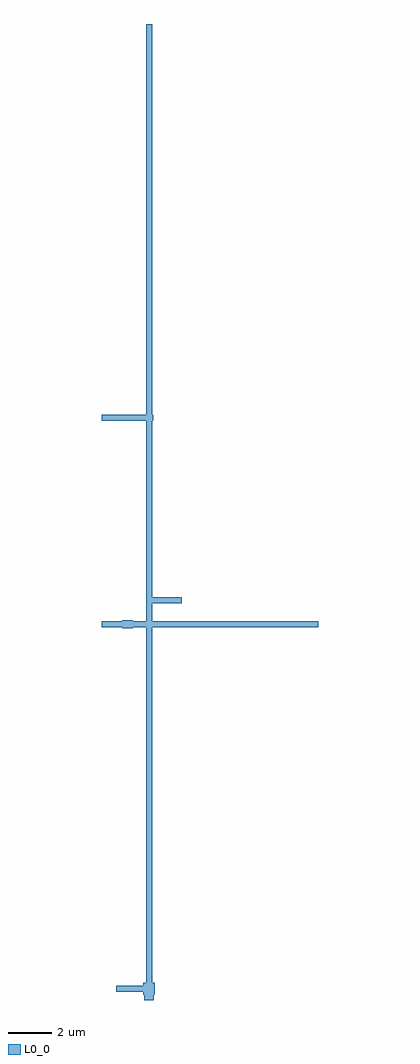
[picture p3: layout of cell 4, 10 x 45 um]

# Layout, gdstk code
import gdstk
lib = gdstk.Library(unit=1e-6, precision=1e-09)
def P(c, l, *ps):  # polygons
    for p in ps: c.add(gdstk.Polygon(p, *l))
L0_0 = (0, 0)

c_4 = lib.new_cell('4')
P(c_4, L0_0, [(1201.97,730),(1201.97,730.74),(1202.41,730.74),(1202.41,730),(1201.97,730)],
  [(1201.92,730.79),(1202.46,730.79),(1202.46,730.25),(1201.92,730.25),(1201.92,730.79)],
  [(1202,756.98),(1202.38,756.98),(1202.38,756.7),(1202,756.7),(1202,756.98)],
  [(1202.05,730),(1202.05,756.98),(1202.33,756.98),(1202.33,730),(1202.05,730)],
  [(1202,730.66),(1202.38,730.66),(1202.38,730.38),(1202,730.38),(1202,730.66)],
  [(1200.68,730.66),(1201.06,730.66),(1201.06,730.38),(1200.68,730.38),(1200.68,730.66)],
  [(1200.73,730.66),(1202.33,730.66),(1202.33,730.38),(1200.73,730.38),(1200.73,730.66)],
  [(1202,756.98),(1202.38,756.98),(1202.38,756.7),(1202,756.7),(1202,756.98)],
  [(1200,756.98),(1202.33,756.98),(1202.33,756.7),(1200,756.7),(1200,756.98)],
  [(1202,747.46),(1202.38,747.46),(1202.38,747.18),(1202,747.18),(1202,747.46)],
  [(1200,747.46),(1202.33,747.46),(1202.33,747.18),(1200,747.18),(1200,747.46)],
  [(1202,747.46),(1202.38,747.46),(1202.38,747.18),(1202,747.18),(1202,747.46)],
  [(1202.05,748.58),(1203.65,748.58),(1203.65,748.3),(1202.05,748.3),(1202.05,748.58)],
  [(1202.33,775),(1202.33,748.3),(1202.05,748.3),(1202.05,775),(1202.33,775)],
  [(1202.05,747.18),(1202.05,748.58),(1202.33,748.58),(1202.33,747.18),(1202.05,747.18)],
  [(1203.32,748.58),(1203.7,748.58),(1203.7,748.3),(1203.32,748.3),(1203.32,748.58)],
  [(1202.33,775),(1202.33,748.3),(1202.05,748.3),(1202.05,775),(1202.33,775)],
  [(1202.05,747.18),(1202.05,748.58),(1202.33,748.58),(1202.33,747.18),(1202.05,747.18)],
  [(1202,747.46),(1202.38,747.46),(1202.38,747.18),(1202,747.18),(1202,747.46)],
  [(1202.05,747.18),(1202.05,748.58),(1202.33,748.58),(1202.33,747.18),(1202.05,747.18)],
  [(1202.05,730.89),(1202.33,730.89),(1202.33,730.15),(1202.05,730.15),(1202.05,730.89)],
  [(1202,730.66),(1202.38,730.66),(1202.38,730.38),(1202,730.38),(1202,730.66)],
  [(1200,747.46),(1201.34,747.46),(1201.34,747.18),(1200,747.18),(1200,747.46)],
  [(1210,747.18),(1201.06,747.18),(1201.06,747.46),(1210,747.46),(1210,747.18)],
  [(1200.96,747.51),(1201.44,747.51),(1201.44,747.13),(1200.96,747.13),(1200.96,747.51)],
  [(1210,747.18),(1201.06,747.18),(1201.06,747.46),(1210,747.46),(1210,747.18)],
  [(1200.96,747.51),(1201.44,747.51),(1201.44,747.13),(1200.96,747.13),(1200.96,747.51)],
  [(1202,730.66),(1202.38,730.66),(1202.38,730.38),(1202,730.38),(1202,730.66)],
  [(1201.92,730.71),(1202.46,730.71),(1202.46,730.33),(1201.92,730.33),(1201.92,730.71)])

lib.write_gds('4.gds')
